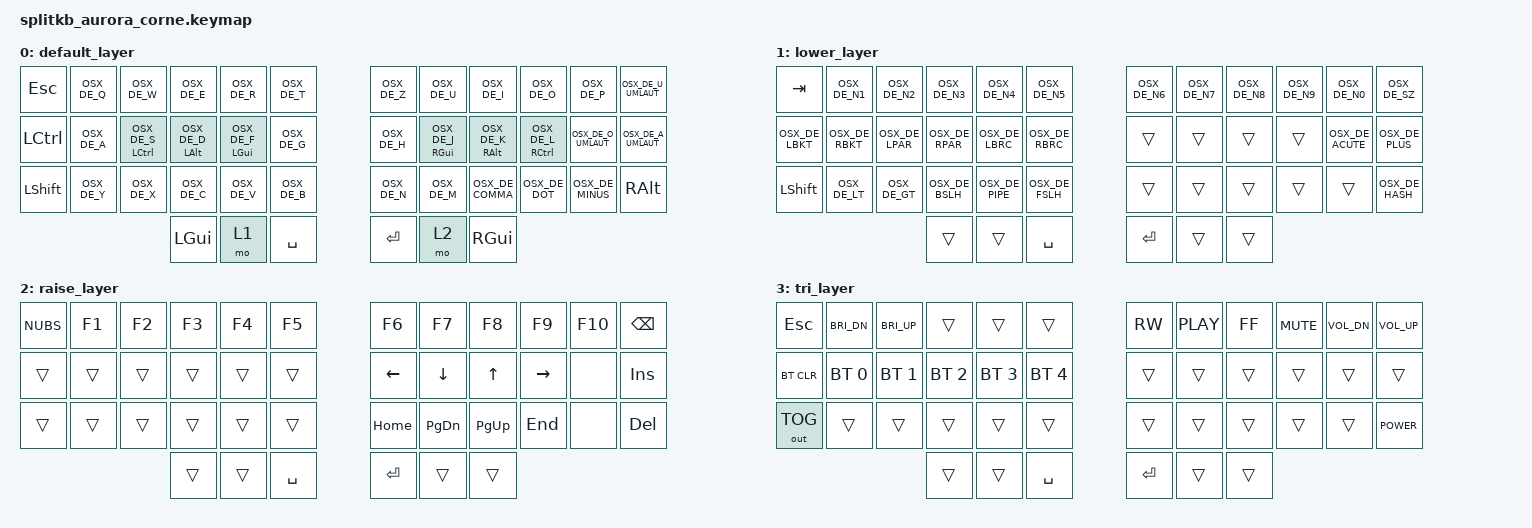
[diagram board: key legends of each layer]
/*
 * Copyright (c) 2020 The ZMK Contributors
 *
 * SPDX-License-Identifier: MIT
 */

#include <behaviors.dtsi>
#include <dt-bindings/zmk/keys.h>
#include <dt-bindings/zmk/bt.h>
#include <dt-bindings/zmk/outputs.h>
#include "keys_osx_de.h"

/ {
        behaviors {
                ht: hold_tap {
                        label = "hold_tap";
                        compatible = "zmk,behavior-hold-tap";
                        #binding-cells = <2>;
                        flavor = "tap-preferred";
                        tapping-term-ms = <200>;
                        quick-tap-ms = <150>;
                        global-quick-tap;
                        bindings = <&kp>, <&kp>;
                };
        };

        conditional_layers {
                compatible = "zmk,conditional-layers";
                tri_layer {
                        if-layers = <1 2>;
                        then-layer = <3>;
                };
        };

        keymap {
                compatible = "zmk,keymap";

                default_layer {
                        bindings = <
//    ┌───────────┬──────────────┬────────────────────┬───────────────────┬───────────────────┬──────────────┐                         ┌──────────────┬───────────────────┬───────────────────┬────────────────────┬─────────────────────┬─────────────────────┐
//    │  &kp ESC  │ &kp OSX_DE_Q │    &kp OSX_DE_W    │   &kp OSX_DE_E    │   &kp OSX_DE_R    │ &kp OSX_DE_T │                         │ &kp OSX_DE_Z │   &kp OSX_DE_U    │   &kp OSX_DE_I    │    &kp OSX_DE_O    │    &kp OSX_DE_P     │ &kp OSX_DE_U_UMLAUT │
//    ├───────────┼──────────────┼────────────────────┼───────────────────┼───────────────────┼──────────────┤                         ├──────────────┼───────────────────┼───────────────────┼────────────────────┼─────────────────────┼─────────────────────┤
//    │ &kp LCTRL │ &kp OSX_DE_A │ &ht LCTRL OSX_DE_S │ &ht LALT OSX_DE_D │ &ht LGUI OSX_DE_F │ &kp OSX_DE_G │                         │ &kp OSX_DE_H │ &ht RGUI OSX_DE_J │ &ht RALT OSX_DE_K │ &ht RCTRL OSX_DE_L │ &kp OSX_DE_O_UMLAUT │ &kp OSX_DE_A_UMLAUT │
//    ├───────────┼──────────────┼────────────────────┼───────────────────┼───────────────────┼──────────────┤                         ├──────────────┼───────────────────┼───────────────────┼────────────────────┼─────────────────────┼─────────────────────┤
//    │ &kp LSHFT │ &kp OSX_DE_Y │    &kp OSX_DE_X    │   &kp OSX_DE_C    │   &kp OSX_DE_V    │ &kp OSX_DE_B │                         │ &kp OSX_DE_N │   &kp OSX_DE_M    │ &kp OSX_DE_COMMA  │   &kp OSX_DE_DOT   │  &kp OSX_DE_MINUS   │      &kp RALT       │
//    └───────────┴──────────────┴────────────────────┴───────────────────┼───────────────────┼──────────────┼───────────┐   ┌─────────┼──────────────┼───────────────────┼───────────────────┴────────────────────┴─────────────────────┴─────────────────────┘
//                                                                        │     &kp LGUI      │    &mo 1     │ &kp SPACE │   │ &kp RET │    &mo 2     │     &kp RGUI      │                                                                                     
//                                                                        └───────────────────┴──────────────┴───────────┘   └─────────┴──────────────┴───────────────────┘                                                                                     
  &kp ESC     &kp OSX_DE_Q   &kp OSX_DE_W         &kp OSX_DE_E        &kp OSX_DE_R        &kp OSX_DE_T                             &kp OSX_DE_Z   &kp OSX_DE_U        &kp OSX_DE_I        &kp OSX_DE_O         &kp OSX_DE_P          &kp OSX_DE_U_UMLAUT
  &kp LCTRL   &kp OSX_DE_A   &ht LCTRL OSX_DE_S   &ht LALT OSX_DE_D   &ht LGUI OSX_DE_F   &kp OSX_DE_G                             &kp OSX_DE_H   &ht RGUI OSX_DE_J   &ht RALT OSX_DE_K   &ht RCTRL OSX_DE_L   &kp OSX_DE_O_UMLAUT   &kp OSX_DE_A_UMLAUT
  &kp LSHFT   &kp OSX_DE_Y   &kp OSX_DE_X         &kp OSX_DE_C        &kp OSX_DE_V        &kp OSX_DE_B                             &kp OSX_DE_N   &kp OSX_DE_M        &kp OSX_DE_COMMA    &kp OSX_DE_DOT       &kp OSX_DE_MINUS      &kp RALT           
                                                                      &kp LGUI            &mo 1          &kp SPACE       &kp RET   &mo 2          &kp RGUI                                                                                              
                        >;
                };

                lower_layer {
                        bindings = <
//    ┌─────────────────┬─────────────────┬─────────────────┬─────────────────┬─────────────────┬─────────────────┐                         ┌───────────────┬───────────────┬───────────────┬───────────────┬──────────────────┬─────────────────┐
//    │     &kp TAB     │  &kp OSX_DE_N1  │  &kp OSX_DE_N2  │  &kp OSX_DE_N3  │  &kp OSX_DE_N4  │  &kp OSX_DE_N5  │                         │ &kp OSX_DE_N6 │ &kp OSX_DE_N7 │ &kp OSX_DE_N8 │ &kp OSX_DE_N9 │  &kp OSX_DE_N0   │  &kp OSX_DE_SZ  │
//    ├─────────────────┼─────────────────┼─────────────────┼─────────────────┼─────────────────┼─────────────────┤                         ├───────────────┼───────────────┼───────────────┼───────────────┼──────────────────┼─────────────────┤
//    │ &kp OSX_DE_LBKT │ &kp OSX_DE_RBKT │ &kp OSX_DE_LPAR │ &kp OSX_DE_RPAR │ &kp OSX_DE_LBRC │ &kp OSX_DE_RBRC │                         │    &trans     │    &trans     │    &trans     │    &trans     │ &kp OSX_DE_ACUTE │ &kp OSX_DE_PLUS │
//    ├─────────────────┼─────────────────┼─────────────────┼─────────────────┼─────────────────┼─────────────────┤                         ├───────────────┼───────────────┼───────────────┼───────────────┼──────────────────┼─────────────────┤
//    │    &kp LSHFT    │  &kp OSX_DE_LT  │  &kp OSX_DE_GT  │ &kp OSX_DE_BSLH │ &kp OSX_DE_PIPE │ &kp OSX_DE_FSLH │                         │    &trans     │    &trans     │    &trans     │    &trans     │      &trans      │ &kp OSX_DE_HASH │
//    └─────────────────┴─────────────────┴─────────────────┴─────────────────┼─────────────────┼─────────────────┼───────────┐   ┌─────────┼───────────────┼───────────────┼───────────────┴───────────────┴──────────────────┴─────────────────┘
//                                                                            │     &trans      │     &trans      │ &kp SPACE │   │ &kp RET │    &trans     │    &trans     │                                                                     
//                                                                            └─────────────────┴─────────────────┴───────────┘   └─────────┴───────────────┴───────────────┘                                                                     
  &kp TAB           &kp OSX_DE_N1     &kp OSX_DE_N2     &kp OSX_DE_N3     &kp OSX_DE_N4     &kp OSX_DE_N5                               &kp OSX_DE_N6   &kp OSX_DE_N7   &kp OSX_DE_N8   &kp OSX_DE_N9   &kp OSX_DE_N0      &kp OSX_DE_SZ  
  &kp OSX_DE_LBKT   &kp OSX_DE_RBKT   &kp OSX_DE_LPAR   &kp OSX_DE_RPAR   &kp OSX_DE_LBRC   &kp OSX_DE_RBRC                             &trans          &trans          &trans          &trans          &kp OSX_DE_ACUTE   &kp OSX_DE_PLUS
  &kp LSHFT         &kp OSX_DE_LT     &kp OSX_DE_GT     &kp OSX_DE_BSLH   &kp OSX_DE_PIPE   &kp OSX_DE_FSLH                             &trans          &trans          &trans          &trans          &trans             &kp OSX_DE_HASH
                                                                          &trans            &trans            &kp SPACE       &kp RET   &trans          &trans                                                                            
                        >;
                };

                raise_layer {
                        bindings = <
//    ┌──────────┬────────┬────────┬────────┬────────┬────────┐                         ┌──────────┬───────────┬───────────┬───────────┬─────────┬──────────┐
//    │ &kp NUBS │ &kp F1 │ &kp F2 │ &kp F3 │ &kp F4 │ &kp F5 │                         │  &kp F6  │  &kp F7   │  &kp F8   │  &kp F9   │ &kp F10 │ &kp BSPC │
//    ├──────────┼────────┼────────┼────────┼────────┼────────┤                         ├──────────┼───────────┼───────────┼───────────┼─────────┼──────────┤
//    │  &trans  │ &trans │ &trans │ &trans │ &trans │ &trans │                         │ &kp LEFT │ &kp DOWN  │  &kp UP   │ &kp RIGHT │  &none  │ &kp INS  │
//    ├──────────┼────────┼────────┼────────┼────────┼────────┤                         ├──────────┼───────────┼───────────┼───────────┼─────────┼──────────┤
//    │  &trans  │ &trans │ &trans │ &trans │ &trans │ &trans │                         │ &kp HOME │ &kp PG_DN │ &kp PG_UP │  &kp END  │  &none  │ &kp DEL  │
//    └──────────┴────────┴────────┴────────┼────────┼────────┼───────────┐   ┌─────────┼──────────┼───────────┼───────────┴───────────┴─────────┴──────────┘
//                                          │ &trans │ &trans │ &kp SPACE │   │ &kp RET │  &trans  │  &trans   │                                             
//                                          └────────┴────────┴───────────┘   └─────────┴──────────┴───────────┘                                             
  &kp NUBS   &kp F1   &kp F2   &kp F3   &kp F4   &kp F5                             &kp F6     &kp F7      &kp F8      &kp F9      &kp F10   &kp BSPC
  &trans     &trans   &trans   &trans   &trans   &trans                             &kp LEFT   &kp DOWN    &kp UP      &kp RIGHT   &none     &kp INS 
  &trans     &trans   &trans   &trans   &trans   &trans                             &kp HOME   &kp PG_DN   &kp PG_UP   &kp END     &none     &kp DEL 
                                        &trans   &trans   &kp SPACE       &kp RET   &trans     &trans                                                
                        >;
                };

                tri_layer {
                        bindings = <
//    ┌──────────────┬──────────────┬──────────────┬──────────────┬──────────────┬──────────────┐                         ┌──────────┬────────────┬──────────┬────────────┬──────────────┬──────────────┐
//    │   &kp ESC    │ &kp C_BRI_DN │ &kp C_BRI_UP │    &trans    │    &trans    │    &trans    │                         │ &kp C_RW │ &kp C_PLAY │ &kp C_FF │ &kp C_MUTE │ &kp C_VOL_DN │ &kp C_VOL_UP │
//    ├──────────────┼──────────────┼──────────────┼──────────────┼──────────────┼──────────────┤                         ├──────────┼────────────┼──────────┼────────────┼──────────────┼──────────────┤
//    │  &bt BT_CLR  │ &bt BT_SEL 0 │ &bt BT_SEL 1 │ &bt BT_SEL 2 │ &bt BT_SEL 3 │ &bt BT_SEL 4 │                         │  &trans  │   &trans   │  &trans  │   &trans   │    &trans    │    &trans    │
//    ├──────────────┼──────────────┼──────────────┼──────────────┼──────────────┼──────────────┤                         ├──────────┼────────────┼──────────┼────────────┼──────────────┼──────────────┤
//    │ &out OUT_TOG │    &trans    │    &trans    │    &trans    │    &trans    │    &trans    │                         │  &trans  │   &trans   │  &trans  │   &trans   │    &trans    │ &kp C_POWER  │
//    └──────────────┴──────────────┴──────────────┴──────────────┼──────────────┼──────────────┼───────────┐   ┌─────────┼──────────┼────────────┼──────────┴────────────┴──────────────┴──────────────┘
//                                                                │    &trans    │    &trans    │ &kp SPACE │   │ &kp RET │  &trans  │   &trans   │                                                      
//                                                                └──────────────┴──────────────┴───────────┘   └─────────┴──────────┴────────────┘                                                      
  &kp ESC        &kp C_BRI_DN   &kp C_BRI_UP   &trans         &trans         &trans                                   &kp C_RW   &kp C_PLAY   &kp C_FF   &kp C_MUTE   &kp C_VOL_DN   &kp C_VOL_UP
  &bt BT_CLR     &bt BT_SEL 0   &bt BT_SEL 1   &bt BT_SEL 2   &bt BT_SEL 3   &bt BT_SEL 4                             &trans     &trans       &trans     &trans       &trans         &trans      
  &out OUT_TOG   &trans         &trans         &trans         &trans         &trans                                   &trans     &trans       &trans     &trans       &trans         &kp C_POWER 
                                                              &trans         &trans         &kp SPACE       &kp RET   &trans     &trans                                                          
                        >;
                };
        };
};
